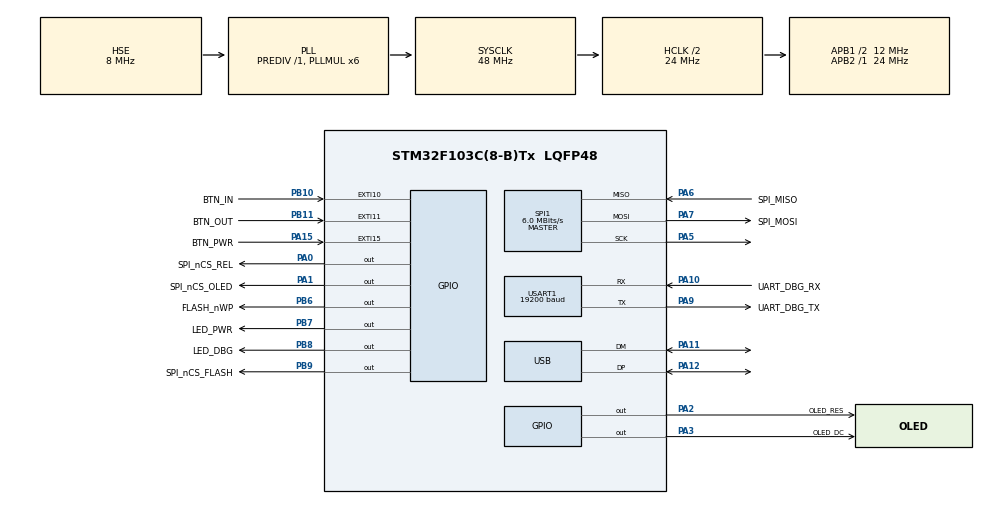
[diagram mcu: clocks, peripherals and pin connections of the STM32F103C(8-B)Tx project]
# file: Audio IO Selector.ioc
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Mcu.Family=STM32F1
Mcu.Name=STM32F103C(8-B)Tx
Mcu.Package=LQFP48
NVIC.EXTI15_10_IRQn=true\:1\:0\:true\:false\:true\:true\:true
NVIC.PriorityGroup=NVIC_PRIORITYGROUP_4
NVIC.USART1_IRQn=true\:1\:0\:true\:false\:true\:true\:true
NVIC.USB_LP_CAN1_RX0_IRQn=true\:0\:0\:false\:false\:true\:false\:true
PA0-WKUP.GPIO_Label=SPI_nCS_REL
PA0-WKUP.GPIO_PuPd=GPIO_PULLUP
PA0-WKUP.PinState=GPIO_PIN_SET
PA0-WKUP.Signal=GPIO_Output
PA1.GPIO_Label=SPI_nCS_OLED
PA1.GPIO_PuPd=GPIO_PULLUP
PA1.PinState=GPIO_PIN_SET
PA1.Signal=GPIO_Output
PA10.GPIO_Label=UART_DBG_RX
PA10.Mode=Asynchronous
PA10.Signal=USART1_RX
PA11.Mode=Device
PA11.Signal=USB_DM
PA12.Mode=Device
PA12.Signal=USB_DP
PA13.Mode=Trace_Asynchronous_SW
PA13.Signal=SYS_JTMS-SWDIO
PA14.Mode=Trace_Asynchronous_SW
PA14.Signal=SYS_JTCK-SWCLK
PA15.GPIO_Label=BTN_PWR
PA15.GPIO_ModeDefaultEXTI=GPIO_MODE_IT_RISING_FALLING
PA15.GPIO_PuPd=GPIO_NOPULL
PA15.Signal=GPXTI15
PA2.GPIO_Label=OLED_RES
PA2.Signal=GPIO_Output
PA3.GPIO_Label=OLED_DC
PA3.Signal=GPIO_Output
PA5.Mode=Full_Duplex_Master
PA5.Signal=SPI1_SCK
PA6.GPIO_Label=SPI_MISO
PA6.Mode=Full_Duplex_Master
PA6.Signal=SPI1_MISO
PA7.GPIO_Label=SPI_MOSI
PA7.Mode=Full_Duplex_Master
PA7.Signal=SPI1_MOSI
PA9.GPIO_Label=UART_DBG_TX
PA9.Mode=Asynchronous
PA9.Signal=USART1_TX
PB10.GPIO_Label=BTN_IN
PB10.GPIO_ModeDefaultEXTI=GPIO_MODE_IT_RISING_FALLING
PB10.GPIO_PuPd=GPIO_NOPULL
PB10.Signal=GPXTI10
PB11.GPIO_Label=BTN_OUT
PB11.GPIO_ModeDefaultEXTI=GPIO_MODE_IT_RISING_FALLING
PB11.GPIO_PuPd=GPIO_NOPULL
PB11.Signal=GPXTI11
PB3.Mode=Trace_Asynchronous_SW
PB3.Signal=SYS_JTDO-TRACESWO
PB6.GPIO_Label=FLASH_nWP
PB6.GPIO_PuPd=GPIO_PULLUP
PB6.PinState=GPIO_PIN_SET
PB6.Signal=GPIO_Output
PB7.GPIO_Label=LED_PWR
PB7.Signal=GPIO_Output
PB8.GPIO_Label=LED_DBG
PB8.Signal=GPIO_Output
PB9.GPIO_Label=SPI_nCS_FLASH
PB9.GPIO_PuPd=GPIO_PULLUP
PB9.PinState=GPIO_PIN_SET
PB9.Signal=GPIO_Output
PD0-OSC_IN.Mode=HSE-External-Oscillator
PD0-OSC_IN.Signal=RCC_OSC_IN
PD1-OSC_OUT.Mode=HSE-External-Oscillator
PD1-OSC_OUT.Signal=RCC_OSC_OUT
ProjectManager.HeapSize=0x2000
ProjectManager.StackSize=0x4000
ProjectManager.TargetToolchain=Other Toolchains (GPDSC)
RCC.AHBCLKDivider=RCC_SYSCLK_DIV2
RCC.AHBFreq_Value=24000000
RCC.APB1CLKDivider=RCC_HCLK_DIV2
RCC.APB1Freq_Value=12000000
RCC.APB1TimFreq_Value=24000000
RCC.APB2Freq_Value=24000000
RCC.APB2TimFreq_Value=24000000
RCC.HCLKFreq_Value=24000000
RCC.PLLMUL=RCC_PLL_MUL6
RCC.PLLSourceVirtual=RCC_PLLSOURCE_HSE
RCC.SYSCLKFreq_VALUE=48000000
RCC.SYSCLKSource=RCC_SYSCLKSOURCE_PLLCLK
RCC.USBFreq_Value=48000000
SPI1.BaudRatePrescaler=SPI_BAUDRATEPRESCALER_4
SPI1.CalculateBaudRate=6.0 MBits/s
SPI1.Direction=SPI_DIRECTION_2LINES
SPI1.Mode=SPI_MODE_MASTER
SPI1.VirtualType=VM_MASTER
USART1.BaudRate=19200
USART1.Parity=PARITY_NONE
USART1.VirtualMode=VM_ASYNC
USB_DEVICE.APP_RX_DATA_SIZE=64
USB_DEVICE.APP_TX_DATA_SIZE=64
USB_DEVICE.CLASS_NAME_FS=CDC
USB_DEVICE.VirtualMode=Cdc
USB_DEVICE.VirtualModeFS=Cdc_FS
VP_USB_DEVICE_VS_USB_DEVICE_CDC_FS.Mode=CDC_FS
board=custom

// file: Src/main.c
/* USER CODE BEGIN Header */
/**
  ******************************************************************************
  * @file           : main.c
  * @brief          : Main program body
  ******************************************************************************
  * @attention
  *
  * <h2><center>&copy; Copyright (c) 2020 STMicroelectronics.
  * All rights reserved.</center></h2>
  *
  * This software component is licensed by ST under BSD 3-Clause license,
  * the "License"; You may not use this file except in compliance with the
  * License. You may obtain a copy of the License at:
  *                        opensource.org/licenses/BSD-3-Clause
  *
  ******************************************************************************
  */
/* USER CODE END Header */

#include "main.h"
#include "spi.h"
#include "usart.h"
#include "usb_device.h"
#include "gpio.h"

/* USER CODE BEGIN Includes */
#include <disp1color.h>
#include <font.h>
#include <string.h>
#include "usbd_cdc_if.h"
#include "buttons.h"
#include "display.h"
#include "ext_flash.h"
#include "relays.h"
/* USER CODE END Includes */

/* USER CODE BEGIN PD */
#define USE_HAL_UART_REGISTER_CALLBACKS 1
/* USER CODE END PD */

/* USER CODE BEGIN PV */
// Saved and customizable values
uint8_t ModulesCount_Par = 1;
uint8_t InputsCount_Par = 4;
uint8_t OutputsCount_Par = 4;
uint8_t InOutOrder_Par = OUT_IN;
// Save HW options
uint32_t SaveStartAddr = 0x000000;
uint8_t FlashPageBuffer[256] = {0};

// Task flags
volatile uint8_t DeBouncer_Task = FALSE;
volatile uint8_t CountdownLongPress_Task = FALSE;
volatile uint8_t ScanButtonsShort_Task = FALSE;
volatile uint8_t ScanButtonsLong_Task = FALSE;
volatile uint8_t RelaysUpdate_Task = FALSE;
volatile uint8_t RelaysModuleUpdate_Task = FALSE;
volatile uint8_t DisplayUpdate_Task = FALSE;
volatile uint8_t DisplayWelcome_Task = FALSE;
volatile uint8_t UARTCommandsProcessing_Task = FALSE;
// Additional flags
volatile uint8_t AllowSaveMute_Flag = FALSE;

// Software timers
volatile uint16_t DeBouncer_Timer = DEBOUCE_TIME;
volatile uint16_t LongPress_Timer = LONGPRESS_TIME;
volatile uint16_t DisplayWelcome_Timer = WELCOME_TIME;

// State variables
uint8_t System_State = STANDBY;
uint8_t SetupStage_State = SETUP_PAGE1;
uint8_t Mute_State = FALSE;
uint8_t Lock_State = FALSE;
uint8_t ActiveInput = 0;
uint8_t ActiveOutput = 0;

// Buttons states
uint8_t PowerButton_State = OPEN;
uint8_t InputButton_State = OPEN;
uint8_t OutputButton_State = OPEN;
uint8_t LockButton_State = OPEN;   // Virtual button - long press INPUT
uint8_t MuteButton_State = OPEN;   // Virtual button - long press OUTPUT

char UART_BufSrtingTransmit[32];
char UART_BufSrtingReceive;

extern void initialise_monitor_handles(void);
/* USER CODE END PV */

void SystemClock_Config(void);

int main(void)
{

  /* MCU Configuration--------------------------------------------------------*/

  /* Reset of all peripherals, Initializes the Flash interface and the Systick. */
  HAL_Init();

  /* Configure the system clock */
  SystemClock_Config();

  /* Initialize all configured peripherals */
  MX_GPIO_Init();
  MX_USART1_UART_Init();
  MX_USB_DEVICE_Init();
  MX_SPI1_Init();
  /* USER CODE BEGIN 2 */

  //initialise_monitor_handles();
  ExternalFlash_Init();
  disp1color_Init();
    disp1color_SetBrightness(255);
    disp1color_Sleep();

    // Enable Power LED
    PowerLED_On();
    HAL_UART_Receive_IT(&huart1, (uint8_t *)&UART_BufSrtingReceive, 1);
  /* USER CODE END 2 */

  /* Infinite loop */
  /* USER CODE BEGIN WHILE */
    while (1)
    {
        Tasks_Pooling();
    /* USER CODE END WHILE */

    }
}

void SystemClock_Config(void)
{
  RCC_OscInitTypeDef RCC_OscInitStruct = {0};
  RCC_ClkInitTypeDef RCC_ClkInitStruct = {0};
  RCC_PeriphCLKInitTypeDef PeriphClkInit = {0};

  /** Initializes the CPU, AHB and APB busses clocks
  */
  RCC_OscInitStruct.OscillatorType = RCC_OSCILLATORTYPE_HSE;
  RCC_OscInitStruct.HSEState = RCC_HSE_ON;
  RCC_OscInitStruct.HSEPredivValue = RCC_HSE_PREDIV_DIV1;
  RCC_OscInitStruct.HSIState = RCC_HSI_ON;
  RCC_OscInitStruct.PLL.PLLState = RCC_PLL_ON;
  RCC_OscInitStruct.PLL.PLLSource = RCC_PLLSOURCE_HSE;
  RCC_OscInitStruct.PLL.PLLMUL = RCC_PLL_MUL6;
  if (HAL_RCC_OscConfig(&RCC_OscInitStruct) != HAL_OK)
  {
    Error_Handler();
  }
  /** Initializes the CPU, AHB and APB busses clocks
  */
  RCC_ClkInitStruct.ClockType = RCC_CLOCKTYPE_HCLK|RCC_CLOCKTYPE_SYSCLK
                              |RCC_CLOCKTYPE_PCLK1|RCC_CLOCKTYPE_PCLK2;
  RCC_ClkInitStruct.SYSCLKSource = RCC_SYSCLKSOURCE_PLLCLK;
  RCC_ClkInitStruct.AHBCLKDivider = RCC_SYSCLK_DIV2;
  RCC_ClkInitStruct.APB1CLKDivider = RCC_HCLK_DIV2;
  RCC_ClkInitStruct.APB2CLKDivider = RCC_HCLK_DIV1;

  if (HAL_RCC_ClockConfig(&RCC_ClkInitStruct, FLASH_LATENCY_1) != HAL_OK)
  {
    Error_Handler();
  }
  PeriphClkInit.PeriphClockSelection = RCC_PERIPHCLK_USB;
  PeriphClkInit.UsbClockSelection = RCC_USBCLKSOURCE_PLL;
  if (HAL_RCCEx_PeriphCLKConfig(&PeriphClkInit) != HAL_OK)
  {
    Error_Handler();
  }
}

/* USER CODE BEGIN 4 */
void Tasks_Pooling(void)
{
    // Если есть задача сканировать короткие нажатия кнопок
    if (ScanButtonsShort_Task == TRUE)
    {
        ScanButtonsShort_Task = FALSE;
        //printf("Short scan!\n");
        ShortButtonPresses_Pooling();
    }

    // Если есть задача сканировать долгие нажатия кнопок
    if (ScanButtonsLong_Task == TRUE)
    {
        ScanButtonsLong_Task = FALSE;
        //printf("Long scan!\n");
        LongButtonPresses_Pooling();
    }

    // Если есть задача отправить данные в релейный модуль
    if (RelaysUpdate_Task == TRUE)
    {
        RelaysUpdate_Task = FALSE;
        RelaysModule_Update();
    }

    // Если есть задача обновления дисплея
    if (DisplayUpdate_Task == TRUE)
    {
        DisplayUpdate_Task = FALSE;
        Display_Update();
    }

    // Если есть задача обработки команды UART
    if (UARTCommandsProcessing_Task == TRUE)
    {
        UARTCommandsProcessing_Task = FALSE;
        UARTCommands_Processing(UART_BufSrtingReceive);
        //HAL_UART_Transmit(&huart1, (uint8_t *)&UART_BufSrtingReceive, strlen(UART_BufSrtingReceive), HAL_MAX_DELAY);
    }
}

/**
  * @brief  Функция-обработчик внешних прерываний для кнопок.
  * @retval Нет
  */
void HAL_GPIO_EXTI_Callback(uint16_t GPIO_Pin)
{
    // Если прерывание произошло именно от кнопок
    if ((GPIO_Pin == BTN_PWR_Pin) | (GPIO_Pin == BTN_IN_Pin) | (GPIO_Pin == BTN_OUT_Pin))
    {
        DeBouncer_Timer = DEBOUCE_TIME; // Инициализируем таймер задачи подавления дребезга
        DeBouncer_Task = TRUE;          // Взводим флаг задачи подавления дребезга
    }
}

/**
  * @brief  Функция-обработчик прерываний приема по UART.
  * @retval Нет
  */
void HAL_UART_RxCpltCallback(UART_HandleTypeDef *huart)
{
    UARTCommandsProcessing_Task = TRUE;
    //HAL_GPIO_TogglePin(LED_DBG_GPIO_Port, LED_DBG_Pin);
    /*
    sprintf(UART_BufSrtingTransmit, "aio hello");
    HAL_UART_Transmit(&huart1, (uint8_t *)&UART_BufSrtingTransmit, strlen(UART_BufSrtingTransmit), HAL_MAX_DELAY);
    HAL_UART_Receive_IT(&huart1, (uint8_t *)&UART_BufSrtingReceive, 1);
    */
}

/* USER CODE END 4 */

void Error_Handler(void)
{
}

/************************ (C) COPYRIGHT STMicroelectronics *****END OF FILE****/
